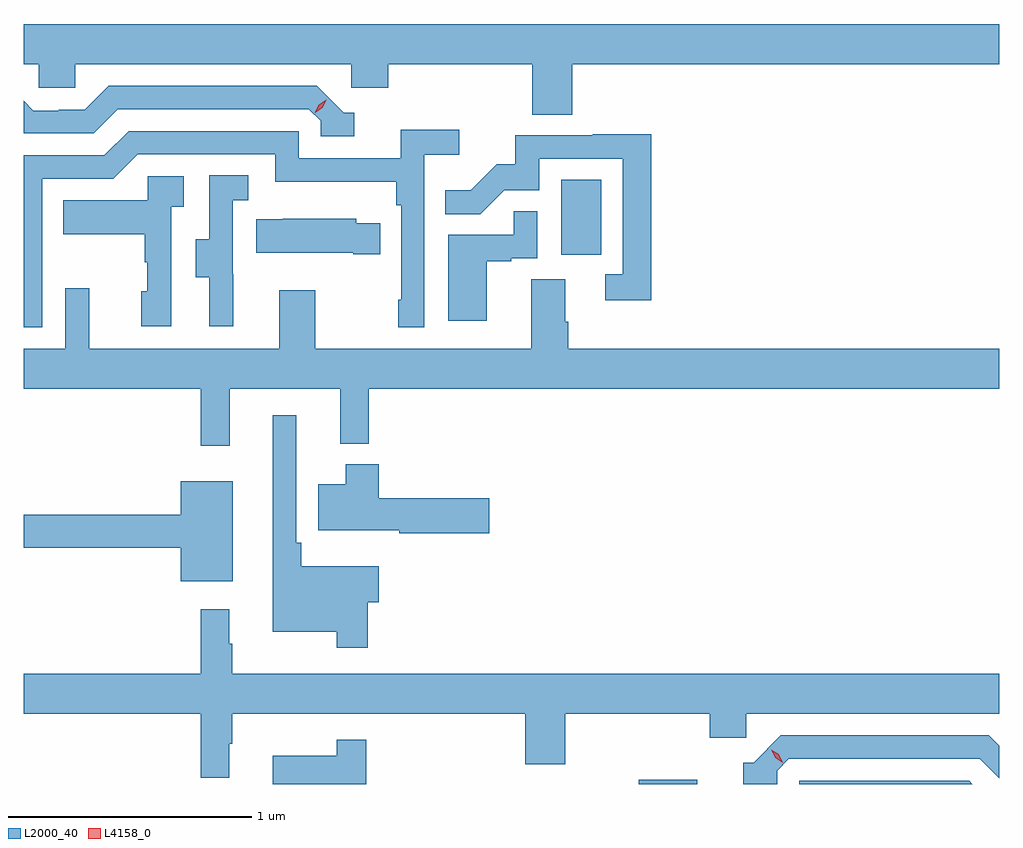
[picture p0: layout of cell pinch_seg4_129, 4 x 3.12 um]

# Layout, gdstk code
import gdstk
lib = gdstk.Library(unit=1e-6, precision=1e-09)
def R(c, l, rs):  # rectangles x0, y0, x1, y1
    for r in rs: c.add(gdstk.rectangle(r[:2], r[2:], *l))
def P(c, l, *ps):  # polygons
    for p in ps: c.add(gdstk.Polygon(p, *l))
L2000_40 = (2000, 40)
L4158_0 = (4158, 0)

pinch_seg4_129 = lib.new_cell('pinch_seg4_129')
R(pinch_seg4_129, L2000_40, [(1046.577,791.204,1046.816,791.222), (1046.258,793.374,1046.422,793.681)])
P(pinch_seg4_129, L2000_40, [(1046.305,794.156),(1048.055,794.156),(1048.055,794.32),(1044.055,794.32),(1044.055,794.156),(1044.117,794.156),(1044.117,794.058),(1044.267,794.058),(1044.267,794.156),(1045.398,794.156),(1045.398,794.058),(1045.55,794.058),(1045.55,794.156),(1046.141,794.156),(1046.141,793.948),(1046.305,793.948)],
  [(1045.411,793.956),(1045.368,793.956),(1045.257,794.067),(1044.404,794.067),(1044.305,793.968),(1044.198,793.968),(1044.198,793.965),(1044.095,793.965),(1044.055,794.006),(1044.055,793.872),(1044.342,793.872),(1044.441,793.971),(1045.224,793.971),(1045.272,793.923),(1045.272,793.86),(1045.411,793.86)],
  [(1044.132,793.686),(1044.423,793.686),(1044.522,793.785),(1045.086,793.785),(1045.086,793.673),(1045.582,793.673),(1045.582,793.577),(1045.602,793.577),(1045.602,793.189),(1045.59,793.189),(1045.59,793.077),(1045.698,793.077),(1045.698,793.784),(1045.84,793.784),(1045.84,793.886),(1045.601,793.886),(1045.601,793.77),(1045.182,793.77),(1045.182,793.881),(1044.485,793.881),(1044.386,793.782),(1044.055,793.782),(1044.055,793.077),(1044.132,793.077)],
  [(1046.627,793.868),(1046.389,793.868),(1046.389,793.863),(1046.071,793.863),(1046.071,793.746),(1045.994,793.746),(1045.887,793.639),(1045.783,793.639),(1045.783,793.54),(1045.927,793.54),(1046.025,793.638),(1046.169,793.638),(1046.169,793.767),(1046.511,793.767),(1046.511,793.293),(1046.439,793.293),(1046.439,793.188),(1046.627,793.188)],
  [(1044.914,793.293),(1044.912,793.293),(1044.912,793.597),(1044.976,793.597),(1044.976,793.7),(1044.816,793.7),(1044.816,793.437),(1044.761,793.437),(1044.761,793.282),(1044.815,793.282),(1044.815,793.08),(1044.914,793.08)],
  [(1044.66,793.571),(1044.712,793.571),(1044.712,793.695),(1044.564,793.695),(1044.564,793.597),(1044.217,793.597),(1044.217,793.457),(1044.552,793.457),(1044.552,793.343),(1044.562,793.343),(1044.562,793.224),(1044.536,793.224),(1044.536,793.08),(1044.66,793.08)],
  [(1045.954,793.347),(1046.054,793.347),(1046.054,793.359),(1046.16,793.359),(1046.16,793.553),(1046.065,793.553),(1046.065,793.455),(1045.796,793.455),(1045.796,793.104),(1045.954,793.104)],
  [(1045.517,793.504),(1045.419,793.504),(1045.419,793.522),(1045.117,793.522),(1045.117,793.519),(1045.009,793.519),(1045.009,793.382),(1045.406,793.382),(1045.406,793.375),(1045.517,793.375)],
  [(1044.899,792.824),(1045.352,792.824),(1045.352,792.599),(1045.469,792.599),(1045.469,792.824),(1048.055,792.824),(1048.055,792.988),(1046.288,792.988),(1046.288,793.1),(1046.275,793.1),(1046.275,793.274),(1046.135,793.274),(1046.135,792.988),(1045.251,792.988),(1045.251,793.228),(1045.103,793.228),(1045.103,792.988),(1044.323,792.988),(1044.323,793.237),(1044.225,793.237),(1044.225,792.988),(1044.055,792.988),(1044.055,792.824),(1044.781,792.824),(1044.781,792.591),(1044.899,792.591)],
  [(1045.466,791.95),(1045.51,791.95),(1045.51,792.097),(1045.193,792.097),(1045.193,792.193),(1045.173,792.193),(1045.173,792.715),(1045.076,792.715),(1045.076,791.828),(1045.338,791.828),(1045.338,791.763),(1045.466,791.763)],
  [(1045.963,792.375),(1045.511,792.375),(1045.511,792.514),(1045.376,792.514),(1045.376,792.433),(1045.262,792.433),(1045.262,792.245),(1045.594,792.245),(1045.594,792.233),(1045.963,792.233)],
  [(1044.913,792.445),(1044.698,792.445),(1044.698,792.308),(1044.055,792.308),(1044.055,792.172),(1044.698,792.172),(1044.698,792.035),(1044.913,792.035)],
  [(1044.898,791.369),(1044.91,791.369),(1044.91,791.492),(1046.111,791.492),(1046.111,791.284),(1046.276,791.284),(1046.276,791.492),(1046.867,791.492),(1046.867,791.394),(1047.018,791.394),(1047.018,791.492),(1048.055,791.492),(1048.055,791.656),(1044.91,791.656),(1044.91,791.78),(1044.898,791.78),(1044.898,791.92),(1044.781,791.92),(1044.781,791.656),(1044.055,791.656),(1044.055,791.492),(1044.781,791.492),(1044.781,791.229),(1044.898,791.229)],
  [(1047.144,791.259),(1047.192,791.307),(1047.975,791.307),(1048.055,791.227),(1048.055,791.36),(1048.012,791.403),(1047.159,791.403),(1047.048,791.292),(1047.005,791.292),(1047.005,791.204),(1047.144,791.204)],
  [(1045.459,791.386),(1045.338,791.386),(1045.338,791.32),(1045.076,791.32),(1045.076,791.204),(1045.459,791.204)],
  [(1047.931,791.217),(1047.234,791.217),(1047.234,791.204),(1047.944,791.204)])
P(pinch_seg4_129, L4158_0, [(1047.167,791.292),(1047.136,791.311),(1047.12,791.344),(1047.12,791.344),(1047.12,791.344),(1047.151,791.325),(1047.167,791.292),(1047.167,791.292)],
  [(1045.249,793.956),(1045.249,793.956),(1045.265,793.989),(1045.295,794.009),(1045.295,794.009),(1045.295,794.008),(1045.28,793.976),(1045.25,793.956)])

lib.write_gds('pinch_seg4_129.gds')
